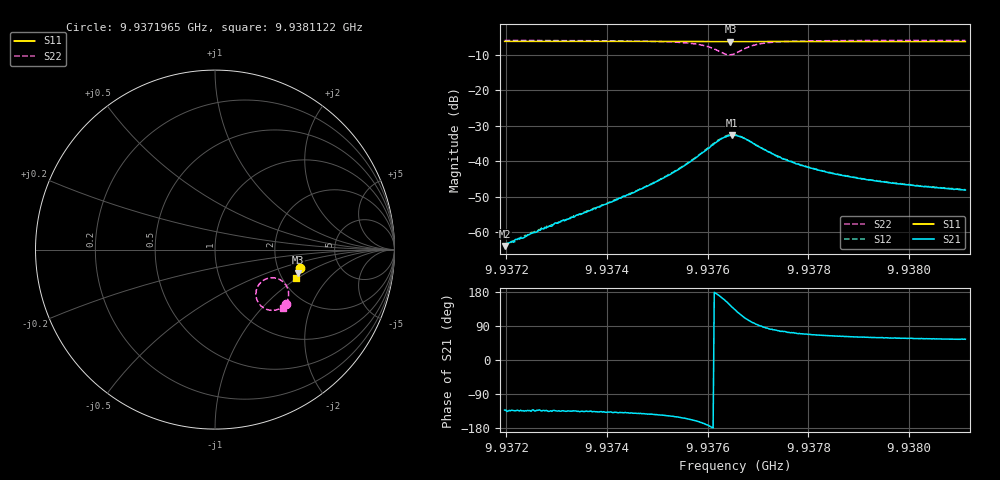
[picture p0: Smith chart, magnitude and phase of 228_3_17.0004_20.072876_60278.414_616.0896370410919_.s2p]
#  HZ  S  RI  R  50.00
! Rohde & Schwarz Vector Network Analyzer
! Rohde-Schwarz,ZNB20-2Port,1311601062101988,3.16
! Created: UTC 3/20/2024, 11:02:16 PM
! freq[Hz]  re:S11  im:S11  re:S21  im:S21  re:S12  im:S12  re:S22  im:S22
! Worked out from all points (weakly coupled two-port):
!   401 points, 9.9371965 GHz to 9.9381122 GHz, reference 50 ohm
!   highest |S21| = -32.72 dB at 9.9376475 GHz (marker M1); lowest = -63.8 dB at 9.9371965 GHz (marker M2)
!   lowest |S11| = -6.4 dB at 9.9376452 GHz (marker M3), VSWR 2.84, Z = 126 - j41.9 ohm
!   |S11| at or under -10 dB: nowhere
!   |S22| runs from -10.1 to -6.1 dB; largest |S21 - S12| = 0.0011
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9.93719646e9  0.4735 -0.0999  -0.000432 -0.000477  -0.000414 -0.000489  0.3948 -0.3036
9.93725369e9  0.4723 -0.1038  -0.000661 -0.000742  -0.000691 -0.00072  0.3899 -0.3082
9.93730864e9  0.4712 -0.1076  -0.00103 -0.00102  -0.00102 -0.000989  0.3847 -0.3129
9.93734984e9  0.4704 -0.1103  -0.00129 -0.00129  -0.00132 -0.00129  0.3799 -0.3167
9.93745057e9  0.4683 -0.1171  -0.00275 -0.00228  -0.00284 -0.00229  0.3624 -0.328
9.93750323e9  0.467 -0.1208  -0.00442 -0.0031  -0.00449 -0.00309  0.3459 -0.3347
9.9375513e9  0.4657 -0.1241  -0.00754 -0.00381  -0.00772 -0.00379  0.3176 -0.3387
9.9375948e9  0.464 -0.127  -0.0137 -0.00269  -0.0142 -0.00237  0.2672 -0.3223
9.93761082e9  0.463 -0.1278  -0.0171 -0.000182  -0.0176 0.000337  0.2429 -0.2974
9.93762456e9  0.4624 -0.1282  -0.0197 0.00417  -0.0199 0.00491  0.2289 -0.2594
9.93763601e9  0.462 -0.1284  -0.0199 0.00913  -0.0202 0.0102  0.2327 -0.2183
9.93764516e9  0.4618 -0.1284  -0.0186 0.0135  -0.0187 0.0145  0.2514 -0.1867
9.93764745e9  0.4618 -0.1284  -0.0179 0.0146  -0.0178 0.0155  0.2582 -0.1801
9.93765432e9  0.4618 -0.1286  -0.0157 0.017  -0.0153 0.0178  0.281 -0.165
9.93766577e9  0.4622 -0.129  -0.0108 0.0192  -0.0103 0.0197  0.3222 -0.1567
9.9376795e9  0.4624 -0.1297  -0.00554 0.0189  -0.00503 0.0192  0.3623 -0.1675
9.93770697e9  0.4627 -0.1318  0.000149 0.0154  0.000612 0.0153  0.4005 -0.2066
9.93775047e9  0.4621 -0.1353  0.00275 0.0103  0.00296 0.0104  0.4106 -0.2496
9.9378077e9  0.4608 -0.1393  0.00316 0.00728  0.00327 0.0073  0.4058 -0.2779
9.9378718e9  0.4592 -0.1436  0.00295 0.00553  0.00302 0.00552  0.3986 -0.2948
9.93796109e9  0.4569 -0.1495  0.00266 0.00423  0.00274 0.00423  0.3902 -0.3085
9.93811218e9  0.4531 -0.1592  0.00228 0.00322  0.00237 0.0032  0.3786 -0.3233
